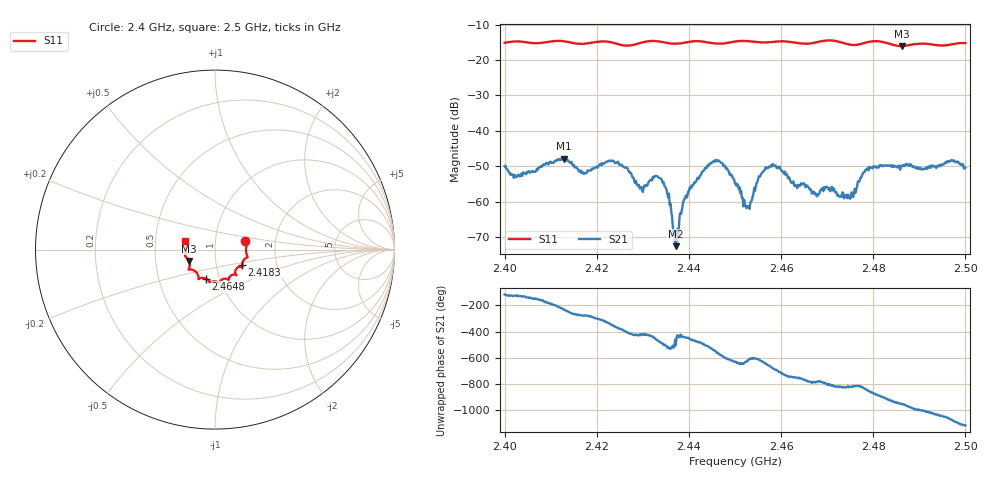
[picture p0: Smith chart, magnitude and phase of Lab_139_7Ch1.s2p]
# Hz S RI R 50
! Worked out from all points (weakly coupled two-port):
!   601 points, 2.4 GHz to 2.5 GHz, reference 50 ohm
!   highest |S21| = -47.82 dB at 2.4128 GHz (marker M1); lowest = -72.5 dB at 2.4372 GHz (marker M2)
!   lowest |S11| = -16.1 dB at 2.4862 GHz (marker M3), VSWR 1.37, Z = 37.1 - j4.81 ohm
!   |S11| at or under -10 dB: start of sweep to end of sweep
!   S12 and S22 are empty: the file has one direction only
!   S11 on the Smith chart (normalised r, x): 2.4 GHz: 1.40, +0.13; 2.4183 GHz: 1.33, -0.24; 2.4648 GHz: 0.86, -0.29; 2.5 GHz: 0.71, +0.07
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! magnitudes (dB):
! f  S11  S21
! 2.4 GHz  -15.1  -49.9
! 2.4128 GHz  -14.7  -47.8
! 2.4167 GHz  -15.4  -52.0
! 2.4183 GHz  -15.2  -51.2
! 2.4242 GHz  -15.4  -49.0
! 2.4298 GHz  -15.1  -56.6
! 2.4333 GHz  -14.7  -53.0
! 2.4355 GHz  -15.2  -58.8
! 2.4372 GHz  -15.4  -72.5
! 2.4393 GHz  -15.0  -58.2
! 2.444 GHz  -15.0  -49.8
! 2.4467 GHz  -15.4  -48.6
! 2.45 GHz  -14.8  -54.8
! 2.4527 GHz  -14.7  -61.2
! 2.4578 GHz  -14.9  -49.7
! 2.4648 GHz  -15.4  -54.9
! 2.4667 GHz  -15.3  -57.7
! 2.4752 GHz  -15.7  -58.2
! 2.4783 GHz  -15.1  -51.0
! 2.4833 GHz  -15.3  -49.8
! 2.4862 GHz  -16.1  -49.9
! 2.5 GHz  -15.2  -50.4
